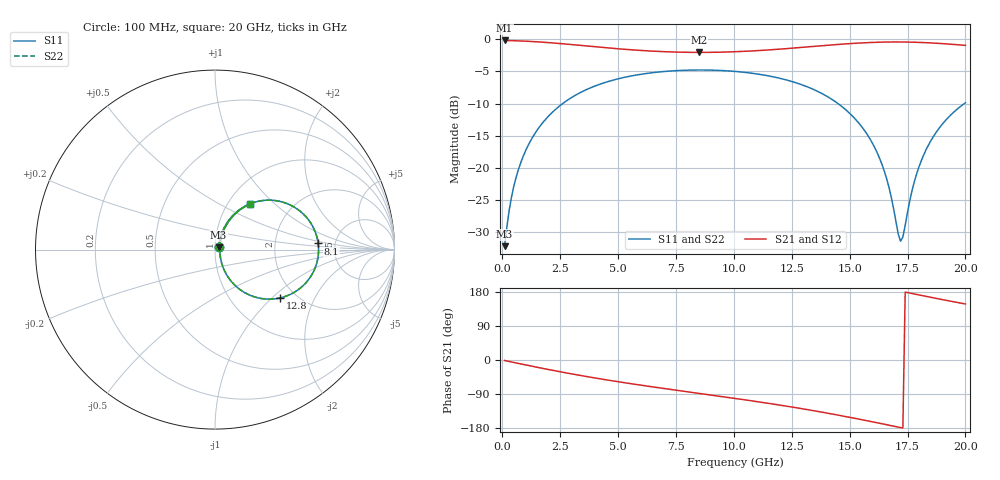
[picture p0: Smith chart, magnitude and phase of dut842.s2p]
! Touchstone file exported from HFSS 2026.1.0
!  File:  C:/ffzhzh/LocalFiles/Ansys_Project_Files/temp_train_TSV_RDL_842_1783268295_30076.aedt
!  Generated:  12:27:34 AM Jul  6, 2026
!  Design:  TSV_RDL
!  Project:  temp_train_TSV_RDL_842_1783268295_30076
! Variables:
!  h_bsmrdl = 4.39um
!  h_ox = 20um
!  h_rdl = 5um
!  h_sub = 57.3um
!  h_tmrdl = 2.12um
!  h_tsv = 57.3um
!  h_via = 3um
!  l_bsmrdl = 876.27um
!  l_sub = 3670.86um
!  l_tmrdl = 135.65um
!  m_sub = 200um
!  pitch = 43.7um
!  r_tsv = 7.52um
!  s_tmrdl = 10um
!  w_bsmrdl = 16.09um
!  w_sub = 500um
!  w_tmrdl = 17.06um
!  x_tsv_center1 = 144.18um
!  x_tsv_center2 = 1036.54um
!  x_tsv_center3 = 1189.25um
!  x_tsv_center4 = 2081.61um
!  x_tsv_center5 = 2234.32um
!  x_tsv_center6 = 3126.68um
# GHz S MA R 50.000000
! Terminal data exported
! Port[1] = TM_RDL1_1_T1
! Port[2] = TM_RDL5_1_T1
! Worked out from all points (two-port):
!   200 points, 100 MHz to 20 GHz, reference 50 ohm
!   highest |S21| = -0.18 dB at 100 MHz (marker M1); lowest = -2.0 dB at 8.5 GHz (marker M2)
!   |S21| within 3 dB of the highest: start of sweep to end of sweep
!   lowest |S11| = -32.2 dB at 100 MHz (marker M3), VSWR 1.05, Z = 52 + j1.43 ohm
!   |S11| at or under -10 dB: start of sweep to 2.61 GHz; 14.5 GHz to 19.96 GHz (5.461 GHz wide, 31.7 % of centre)
!   |S22| runs from -32.2 to -4.8 dB; largest |S21 - S12| = 3.6e-14
!   S11 on the Smith chart (normalised r, x): 100 MHz: 1.04, +0.03; 8.1 GHz: 3.67, +0.38; 12.8 GHz: 1.66, -1.12; 20 GHz: 1.26, +0.71
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0.1  0.02447 34.2  0.98 -1.3  0.98 -1.3  0.02447 34.2
! Gamma 0 0 0 0
! Port Impedance 50 0 50 0
0.3  0.04686 59.4  0.9782 -4.0  0.9782 -4.0  0.04686 59.4
0.5  0.07196 65.6  0.9756 -6.6  0.9756 -6.6  0.07196 65.6
1.1  0.1471 66.6  0.9656 -14.2  0.9656 -14.2  0.1471 66.6
2.1  0.2636 58.2  0.9398 -26.4  0.9398 -26.4  0.2636 58.2
3.5  0.3953 44.1  0.8925 -42.2  0.8925 -42.2  0.3953 44.1
6.8  0.5575 14.1  0.8041 -73.6  0.8041 -73.6  0.5575 14.1
8.1  0.5758 3.4  0.7918 -84.8  0.7918 -84.8  0.5758 3.4
8.5  0.577 0.2  0.791 -88.1  0.791 -88.1  0.5771 0.2
10.1  0.5615 -12.9  0.8012 -101.8  0.8012 -101.8  0.5615 -12.9
12.8  0.4515 -36.6  0.8614 -127.0  0.8614 -127.0  0.4515 -36.6
13.4  0.4099 -42.3  0.8795 -133.3  0.8795 -133.3  0.41 -42.3
14.6  0.3061 -54.0  0.9152 -146.5  0.9152 -146.5  0.3062 -53.9
15.5  0.2111 -62.1  0.9373 -157.2  0.9373 -157.2  0.2112 -62.0
16.2  0.1297 -65.8  0.9489 -165.8  0.9489 -165.8  0.1297 -65.8
16.7  0.07024 -61.5  0.9531 -172.0  0.9531 -172.0  0.07028 -61.4
17.2  0.02679 -3.9  0.9537 -178.3  0.9537 -178.3  0.02684 -3.9
17.3  0.02883 20.9  0.9533 -179.6  0.9533 -179.6  0.02886 20.8
17.8  0.0784 62.8  0.9494 174.1  0.9494 174.1  0.07839 62.8
18.3  0.1377 65.5  0.9419 167.9  0.9419 167.9  0.1377 65.5
19  0.218 61.3  0.9263 159.4  0.9263 159.4  0.218 61.4
20  0.3204 52.3  0.897 147.8  0.897 147.8  0.3204 52.3
